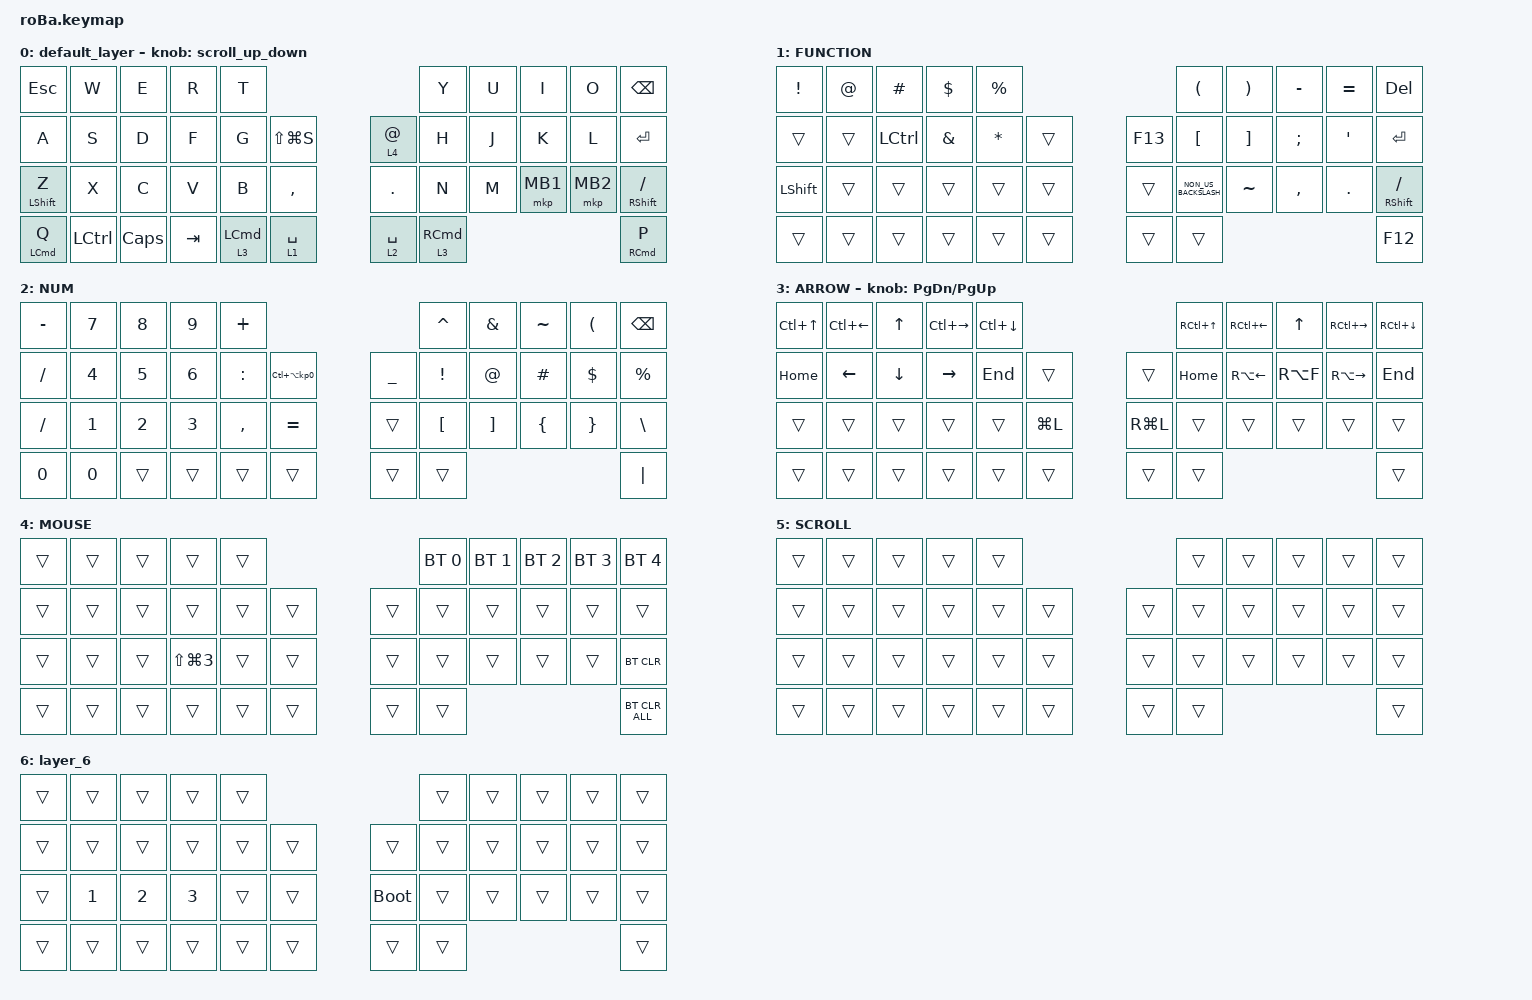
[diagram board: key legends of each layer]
#include <behaviors.dtsi>
#include <dt-bindings/zmk/bt.h>
#include <dt-bindings/zmk/keys.h>
#include <dt-bindings/zmk/pointing.h>

#define MOUSE 4
#define SCROLL 5
#define NUM 6

&mt {
    flavor = "balanced";
    quick-tap-ms = <0>;
};

/ {
    combos {
        compatible = "zmk,combos";

        tab {
            bindings = <&kp TAB>;
            key-positions = <11 12>;
        };

        shift_tab {
            bindings = <&kp LS(TAB)>;
            key-positions = <12 13>;
        };

        muhennkann {
            bindings = <&to_layer_0 INT_MUHENKAN>;
            key-positions = <11 10>;
        };

        double_quotation {
            bindings = <&kp DOUBLE_QUOTES>;
            key-positions = <20 21>;
        };

        eq {
            bindings = <&kp EQUAL>;
            key-positions = <24 25>;
        };

        test {
            bindings = <&kp RA(LEFT_ARROW)>;
            key-positions = <19 18>;
            layers = <3>;
        };
    };

    macros {
        to_layer_0: to_layer_0 {
            compatible = "zmk,behavior-macro-one-param";
            #binding-cells = <1>;
            bindings = <&to 0 &macro_param_1to1 &kp MACRO_PLACEHOLDER>;
            label = "TO_LAYER_0";
        };
    };

    behaviors {
        lt_to_layer_0: lt_to_layer_0 {
            compatible = "zmk,behavior-hold-tap";
            label = "LAYER_TAP_TO_0";
            bindings = <&mo>, <&to_layer_0>;

        #binding-cells = <2>;
        tapping-term-ms = <200>;
    };
       scroll_up_down: behavior_sensor_rotate_mouse_wheel_up_down {
            compatible = "zmk,behavior-sensor-rotate";
            #sensor-binding-cells = <0>;
            bindings = <&msc MOVE_Y(20)>, <&msc MOVE_Y(-20)>;
            // 追加: スクロールのタップ時間を設定 (20ms)

            tap-ms = <20>;
        };
    };

    keymap {
        compatible = "zmk,keymap";

        default_layer {
            bindings = <
&kp ESCAPE          &kp W             &kp E     &kp R    &kp T                                                  &kp Y       &kp U  &kp I     &kp O     &kp BACKSPACE
&kp A               &kp S             &kp D     &kp F    &kp G       &kp LS(LG(S))               &lt 4 AT_SIGN  &kp H       &kp J  &kp K     &kp L     &kp ENTER
&mt LEFT_SHIFT Z    &kp X             &kp C     &kp V    &kp B       &kp COMMA                   &kp PERIOD     &kp N       &kp M  &mkp MB1  &mkp MB2  &mt RSHIFT SLASH
&mt LEFT_COMMAND Q  &kp LEFT_CONTROL  &kp CLCK  &kp TAB  &lt 3 LCMD  &lt_to_layer_0 1 SPACE      &lt 2 SPACE    &lt 3 RCMD                             &mt RIGHT_COMMAND P
            >;

            sensor-bindings = <&scroll_up_down>;
        };

        FUNCTION {
            bindings = <
&kp EXCLAMATION  &kp AT_SIGN  &kp HASH   &kp DOLLAR     &kp PERCENT                        &kp LEFT_PARENTHESIS  &kp RIGHT_PARENTHESIS  &kp MINUS      &kp EQUAL   &kp DEL
&trans           &trans       &kp LCTRL  &kp AMPERSAND  &kp ASTERISK  &trans      &kp F13  &kp LEFT_BRACKET      &kp RIGHT_BRACKET      &kp SEMICOLON  &kp SQT     &kp ENTER
&kp LEFT_SHIFT   &trans       &trans     &trans         &trans        &trans      &trans   &kp NON_US_BACKSLASH  &kp TILDE              &kp COMMA      &kp PERIOD  &mt RIGHT_SHIFT SLASH
&trans           &trans       &trans     &trans         &trans        &trans      &trans   &trans                                                                  &kp F12
            >;
        };

        NUM {
            bindings = <
&kp MINUS  &kp N7        &kp N8        &kp N9        &kp PLUS                                                &kp CARET         &kp AMPERSAND      &kp TILDE       &kp LEFT_PARENTHESIS  &kp BACKSPACE
&kp SLASH  &kp NUMBER_4  &kp N5        &kp NUMBER_6  &kp COLON  &kp LC(LA(KP_NUMBER_0))      &kp UNDERSCORE  &kp EXCLAMATION   &kp AT_SIGN        &kp HASH        &kp DOLLAR            &kp PERCENT
&kp SLASH  &kp NUMBER_1  &kp NUMBER_2  &kp NUMBER_3  &kp COMMA  &kp EQUAL                    &trans          &kp LEFT_BRACKET  &kp RIGHT_BRACKET  &kp LEFT_BRACE  &kp RIGHT_BRACE       &kp BACKSLASH
&kp N0     &kp N0        &trans        &trans        &trans     &trans                       &trans          &trans                                                                     &kp PIPE
            >;
        };

        ARROW {
            bindings = <
&kp LC(UP_ARROW)  &kp LC(LEFT_ARROW)  &kp UP_ARROW    &kp LC(RIGHT_ARROW)  &kp LC(DOWN_ARROW)                            &kp RC(UP_ARROW)  &kp RC(LEFT_ARROW)  &kp UP_ARROW  &kp RC(RIGHT_ARROW)  &kp RC(DOWN_ARROW)
&kp HOME          &kp LEFT_ARROW      &kp DOWN_ARROW  &kp RIGHT_ARROW      &kp END             &trans         &trans     &kp HOME          &kp RA(LEFT_ARROW)  &kp RA(F)     &kp RA(RIGHT_ARROW)  &kp END
&trans            &trans              &trans          &trans               &trans              &kp LG(L)      &kp RG(L)  &trans            &trans              &trans        &trans               &trans
&trans            &trans              &trans          &trans               &trans              &trans         &trans     &trans                                                                   &trans
            >;

            sensor-bindings = <&inc_dec_kp PAGE_DOWN PAGE_UP>;
        };

        MOUSE {
            bindings = <
&trans  &trans  &trans  &trans          &trans                      &bt BT_SEL 0  &bt BT_SEL 1  &bt BT_SEL 2  &bt BT_SEL 3  &bt BT_SEL 4
&trans  &trans  &trans  &trans          &trans  &trans      &trans  &trans        &trans        &trans        &trans        &trans
&trans  &trans  &trans  &kp LS(LG(N3))  &trans  &trans      &trans  &trans        &trans        &trans        &trans        &bt BT_CLR
&trans  &trans  &trans  &trans          &trans  &trans      &trans  &trans                                                  &bt BT_CLR_ALL
            >;
        };

        SCROLL {
            bindings = <
&trans  &trans  &trans  &trans  &trans                      &trans  &trans  &trans  &trans  &trans
&trans  &trans  &trans  &trans  &trans  &trans      &trans  &trans  &trans  &trans  &trans  &trans
&trans  &trans  &trans  &trans  &trans  &trans      &trans  &trans  &trans  &trans  &trans  &trans
&trans  &trans  &trans  &trans  &trans  &trans      &trans  &trans                          &trans
            >;
        };

        layer_6 {
            bindings = <
&trans  &trans        &trans        &trans        &trans                           &trans  &trans  &trans  &trans  &trans
&trans  &trans        &trans        &trans        &trans  &trans      &trans       &trans  &trans  &trans  &trans  &trans
&trans  &kp NUMBER_1  &kp NUMBER_2  &kp NUMBER_3  &trans  &trans      &bootloader  &trans  &trans  &trans  &trans  &trans
&trans  &trans        &trans        &trans        &trans  &trans      &trans       &trans                          &trans
            >;
        };
    };
};
